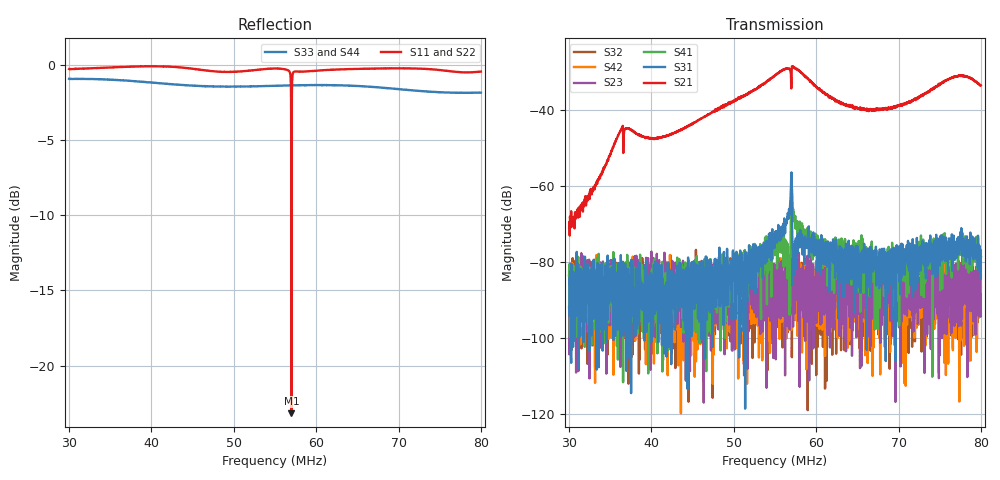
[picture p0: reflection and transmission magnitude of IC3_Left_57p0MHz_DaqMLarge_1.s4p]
#  HZ  S  DB  R  50.00
! Rohde & Schwarz Vector Network Analyzer
! Rohde-Schwarz,ZNB8-4Port,1311601044102961,2.82
! Created: UTC 2/12/2019, 1:30:09 PM
! freq[Hz]  db:S11  ang:S11  db:S12  ang:S12  db:S13  ang:S13  db:S14  ang:S14
!  db:S21  ang:S21  db:S22  ang:S22  db:S23  ang:S23  db:S24  ang:S24
!  db:S31  ang:S31  db:S32  ang:S32  db:S33  ang:S33  db:S34  ang:S34
!  db:S41  ang:S41  db:S42  ang:S42  db:S43  ang:S43  db:S44  ang:S44
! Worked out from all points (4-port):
!   2001 points, 30 MHz to 80 MHz, reference 50 ohm
!   strongest paths, dB at 30 MHz, 42.5 MHz, 55 MHz, 67.5 MHz, 80 MHz:
!     S21: -71.0, -46.4, -30.9, -39.7, -33.6
!     S31: -91.9, -85.4, -73.7, -78.7, -81.6
!     S41: -83.5, -88.6, -74.2, -79.4, -78.6
!     S23: -91.7, -90.6, -86.1, -87.3, -94.2
!     S42: -83.8, -92.1, -93.8, -88.0, -83.4
!     S32: -82.2, -83.9, -83.7, -87.9, -86.5
!   lowest |S11| = -23.2 dB at 57 MHz (marker M1), VSWR 1.15, Z = 54.2 - j5.89 ohm
!   |S11| at or under -10 dB: 56.98118 MHz to 57.01763 MHz (36.45 kHz wide, 0.064 % of centre)
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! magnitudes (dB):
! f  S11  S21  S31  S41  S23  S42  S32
! 30 MHz  -0.3  -71.0  -91.9  -83.5  -91.7  -83.8  -82.2
! 36.3 MHz  -0.1  -45.3  -91.3  -94.2  -87.1  -83.9  -87.6
! 56.62 MHz  -0.4  -29.2  -67.9  -80.2  -82.2  -97.8  -82.2
! 57 MHz  -23.2  -33.1  -56.5  -56.8  -83.5  -88.2  -87.9
! 57.38 MHz  -0.4  -28.9  -75.3  -68.0  -84.8  -78.1  -83.7
! 66.15 MHz  -0.2  -40.1  -79.9  -81.0  -85.6  -78.8  -87.0
! 80 MHz  -0.4  -33.6  -81.6  -78.6  -94.2  -83.4  -86.5
